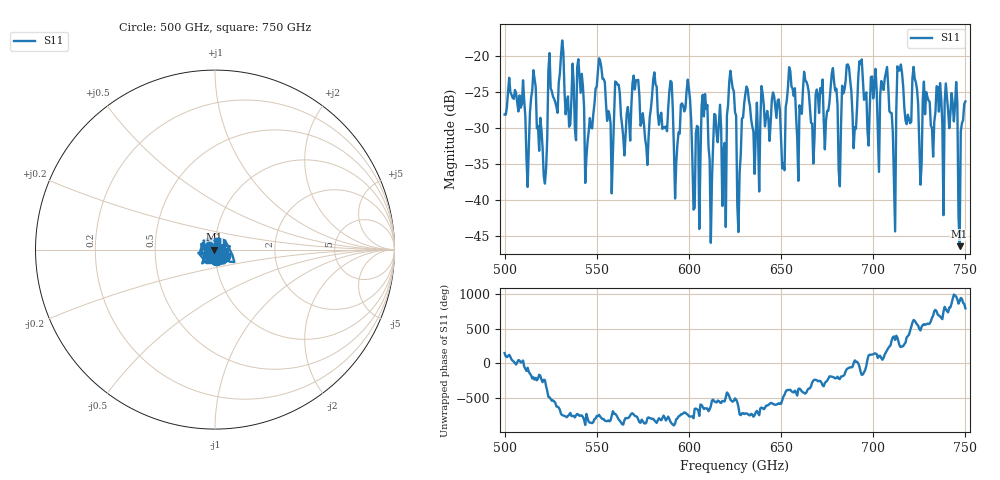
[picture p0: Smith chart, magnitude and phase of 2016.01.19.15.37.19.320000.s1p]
!Created with skrf (http://scikit-rf.org).
# GHz S RI R 50.0
!freq ReS11 ImS11
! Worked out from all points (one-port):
!   401 points, 500 GHz to 750 GHz, reference 50 ohm
!   lowest |S11| = -46.4 dB at 746.9 GHz (marker M1), VSWR 1.01, Z = 49.5 - j0.0121 ohm
!   |S11| at or under -10 dB: start of sweep to end of sweep
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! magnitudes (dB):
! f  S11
! 500 GHz  -28.1
! 512.5 GHz  -38.2
! 515.6 GHz  -22.0
! 521.9 GHz  -37.7
! 525 GHz  -24.5
! 531.2 GHz  -17.8
! 545 GHz  -31.9
! 551.2 GHz  -20.3
! 557.5 GHz  -29.4
! 562.5 GHz  -25.2
! 590 GHz  -23.5
! 593.8 GHz  -32.3
! 599.4 GHz  -23.3
! 603.1 GHz  -41.1
! 608.1 GHz  -28.4
! 611.9 GHz  -45.9
! 625 GHz  -27.8
! 626.9 GHz  -44.4
! 631.2 GHz  -24.2
! 651.2 GHz  -34.9
! 656.2 GHz  -24.5
! 678.8 GHz  -23.6
! 681.2 GHz  -35.9
! 687.5 GHz  -23.4
! 718.8 GHz  -28.1
! 743.8 GHz  -29.1
! 746.9 GHz  -46.4
! 750 GHz  -26.3
